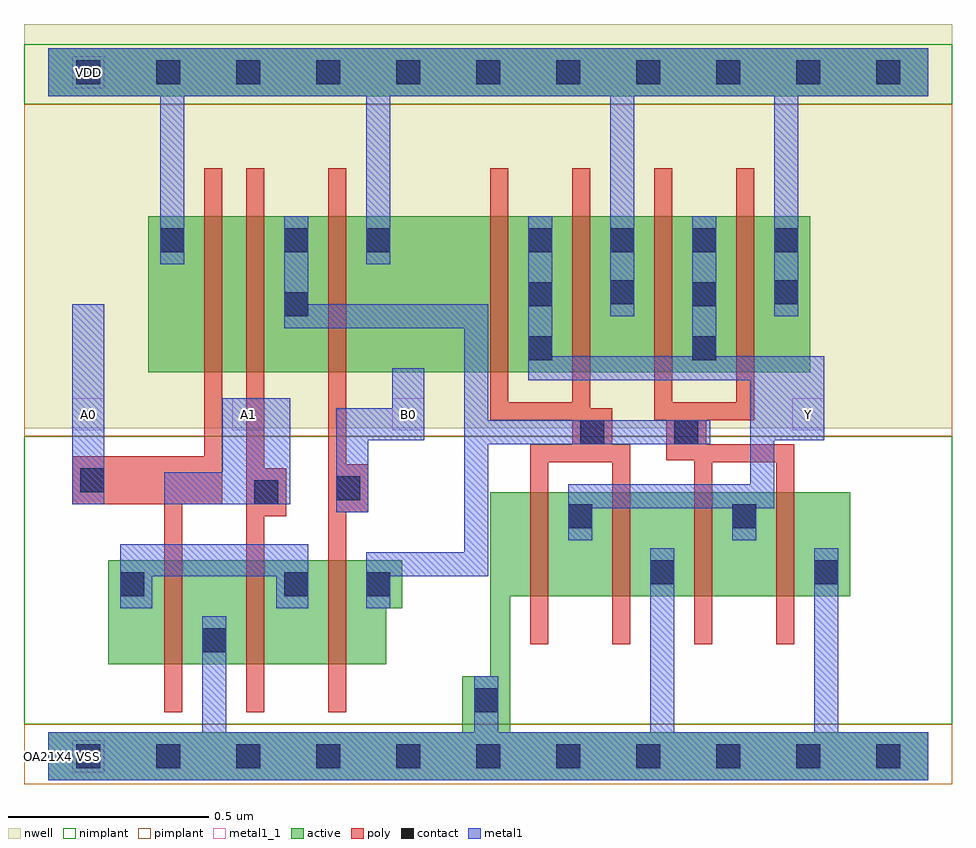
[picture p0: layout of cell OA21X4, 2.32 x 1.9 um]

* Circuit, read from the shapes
.subckt OA21X4 A0 A1 B0 VDD VSS Y
M1 VSS A0 n1 VSS nfet w=0.26u l=0.045u
M2 n1 A1 VSS VSS nfet w=0.26u l=0.045u
M3 n2 B0 n1 VSS nfet w=0.26u l=0.045u
M4 Y n2 VSS VSS nfet w=0.26u l=0.045u m=4
M5 n3 A0 VDD VDD pfet w=0.39u l=0.045u
M6 n2 A1 n3 VDD pfet w=0.39u l=0.045u
M7 VDD B0 n2 VDD pfet w=0.39u l=0.045u
M8 Y n2 VDD VDD pfet w=0.39u l=0.045u m=4
.ends

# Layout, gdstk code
import gdstk
lib = gdstk.Library(unit=1e-6, precision=5e-10)
def R(c, l, rs):  # rectangles x0, y0, x1, y1
    for r in rs: c.add(gdstk.rectangle(r[:2], r[2:], *l))
def A(c, l, x, y, w, h, nx, ny, dx, dy):  # array of equal rectangles
    R(c, l, [(x+i*dx, y+j*dy, x+i*dx+w, y+j*dy+h) for i in range(nx) for j in range(ny)])
def P(c, l, *ps):  # polygons
    for p in ps: c.add(gdstk.Polygon(p, *l))
active = (1, 0)
nwell = (2, 0)
poly = (3, 0)
nimplant = (4, 0)
pimplant = (5, 0)
contact = (6, 0)
metal1 = (7, 0)
metal1_1 = (7, 1)

oa21x4 = lib.new_cell('OA21X4')
R(oa21x4, active, [(0.25,0.96,1.905,1.35), (0,1.65,2.2,1.77)])
P(oa21x4, active, [(0.15,0.49),(0.885,0.49),(0.885,0.37),(0.845,0.37),(0.845,0.23),(0.15,0.23)],
  [(1.105,0.66),(2.005,0.66),(2.005,0.4),(1.155,0.4),(1.155,0.06),(2.2,0.06),(2.2,-0.06),(0,-0.06),(0,0.06),(1.035,0.06),(1.035,0.2),(1.105,0.2)])
R(oa21x4, nwell, [(-0.06,0.82,2.26,1.83)])
P(oa21x4, poly, [(0.39,1.47),(0.435,1.47),(0.435,0.63),(0.335,0.63),(0.335,0.11),(0.29,0.11),(0.29,0.63),(0.06,0.63),(0.06,0.75),(0.39,0.75)],
  [(0.495,1.47),(0.54,1.47),(0.54,0.72),(0.595,0.72),(0.595,0.6),(0.54,0.6),(0.54,0.11),(0.495,0.11)],
  [(0.7,1.47),(0.745,1.47),(0.745,0.73),(0.8,0.73),(0.8,0.61),(0.745,0.61),(0.745,0.11),(0.7,0.11)],
  [(1.105,1.47),(1.15,1.47),(1.15,0.885),(1.31,0.885),(1.31,1.47),(1.355,1.47),(1.355,0.87),(1.41,0.87),(1.41,0.78),(1.455,0.78),(1.455,0.28),(1.41,0.28),(1.41,0.735),(1.25,0.735),(1.25,0.28),(1.205,0.28),(1.205,0.78),(1.31,0.78),(1.31,0.84),(1.105,0.84)],
  [(1.515,1.47),(1.56,1.47),(1.56,0.885),(1.72,0.885),(1.72,1.47),(1.765,1.47),(1.765,0.84),(1.645,0.84),(1.645,0.78),(1.865,0.78),(1.865,0.28),(1.82,0.28),(1.82,0.735),(1.66,0.735),(1.66,0.28),(1.615,0.28),(1.615,0.74),(1.545,0.74),(1.545,0.84),(1.515,0.84)])
R(oa21x4, nimplant, [(-0.06,0.08,2.26,0.8), (-0.06,1.63,2.26,1.78)])
R(oa21x4, pimplant, [(-0.06,-0.07,2.26,0.08), (-0.06,0.8,2.26,1.63)])
A(oa21x4, contact, 0.07, -0.03, 0.06, 0.06, 11, 2, 0.2, 1.71)
A(oa21x4, contact, 1.2, 1.26, 0.06, 0.06, 4, 1, 0.205, 0)
R(oa21x4, contact, [(1.065,0.11,1.125,0.17), (0.385,0.26,0.445,0.32), (0.18,0.4,0.24,0.46), (0.59,0.4,0.65,0.46), (0.795,0.4,0.855,0.46), (1.505,0.43,1.565,0.49), (1.915,0.43,1.975,0.49), (1.3,0.57,1.36,0.63), (1.71,0.57,1.77,0.63), (0.515,0.63,0.575,0.69), (0.72,0.64,0.78,0.7), (0.08,0.66,0.14,0.72), (1.33,0.78,1.39,0.84), (1.565,0.78,1.625,0.84), (1.2,0.99,1.26,1.05), (1.61,0.99,1.67,1.05), (0.59,1.1,0.65,1.16), (1.2,1.125,1.26,1.185), (1.61,1.125,1.67,1.185), (1.405,1.13,1.465,1.19), (1.815,1.13,1.875,1.19), (0.28,1.26,0.34,1.32), (0.59,1.26,0.65,1.32), (0.795,1.26,0.855,1.32)])
R(oa21x4, metal1, [(0.06,0.63,0.14,1.13)])
P(oa21x4, metal1, [(0,1.77),(2.2,1.77),(2.2,1.65),(1.875,1.65),(1.875,1.1),(1.815,1.1),(1.815,1.65),(1.465,1.65),(1.465,1.1),(1.405,1.1),(1.405,1.65),(0.855,1.65),(0.855,1.23),(0.795,1.23),(0.795,1.65),(0.34,1.65),(0.34,1.23),(0.28,1.23),(0.28,1.65),(0,1.65)],
  [(0.59,1.35),(0.65,1.35),(0.65,1.13),(1.1,1.13),(1.1,0.84),(1.655,0.84),(1.655,0.78),(1.1,0.78),(1.1,0.45),(0.855,0.45),(0.855,0.37),(0.795,0.37),(0.795,0.51),(1.04,0.51),(1.04,1.07),(0.59,1.07)],
  [(1.2,1.35),(1.26,1.35),(1.26,1),(1.61,1),(1.61,1.35),(1.67,1.35),(1.67,1),(1.94,1),(1.94,0.79),(1.815,0.79),(1.815,0.62),(1.77,0.62),(1.77,0.54),(1.71,0.54),(1.71,0.62),(1.36,0.62),(1.36,0.54),(1.3,0.54),(1.3,0.68),(1.755,0.68),(1.755,0.94),(1.2,0.94)],
  [(0.86,0.97),(0.94,0.97),(0.94,0.79),(0.8,0.79),(0.8,0.61),(0.72,0.61),(0.72,0.87),(0.86,0.87)],
  [(0.435,0.895),(0.605,0.895),(0.605,0.63),(0.29,0.63),(0.29,0.71),(0.435,0.71)],
  [(0.18,0.53),(0.65,0.53),(0.65,0.37),(0.57,0.37),(0.57,0.45),(0.26,0.45),(0.26,0.37),(0.18,0.37)],
  [(0.385,0.35),(0.445,0.35),(0.445,0.06),(1.065,0.06),(1.065,0.2),(1.125,0.2),(1.125,0.06),(1.505,0.06),(1.505,0.52),(1.565,0.52),(1.565,0.06),(1.915,0.06),(1.915,0.52),(1.975,0.52),(1.975,0.06),(2.2,0.06),(2.2,-0.06),(0,-0.06),(0,0.06),(0.385,0.06)])
A(oa21x4, metal1_1, 0.06, 0.815, 0.08, 0.08, 3, 1, 0.4, 0)
R(oa21x4, metal1_1, [(0.06,-0.04,0.14,0.04), (1.86,0.815,1.94,0.895), (0.06,1.67,0.14,1.75)])
oa21x4.add(gdstk.Label('Y', (1.9,0.855), layer=7, texttype=1))
oa21x4.add(gdstk.Label('A0', (0.1,0.855), layer=7, texttype=1))
oa21x4.add(gdstk.Label('A1', (0.5,0.855), layer=7, texttype=1))
oa21x4.add(gdstk.Label('B0', (0.9,0.855), layer=7, texttype=1))
oa21x4.add(gdstk.Label('VDD', (0.1,1.71), layer=7, texttype=1))
oa21x4.add(gdstk.Label('VSS', (0.1,0), layer=7, texttype=1))
oa21x4.add(gdstk.Label('OA21X4', (0,0), layer=63, texttype=0))

lib.write_gds('OA21X4.gds')
